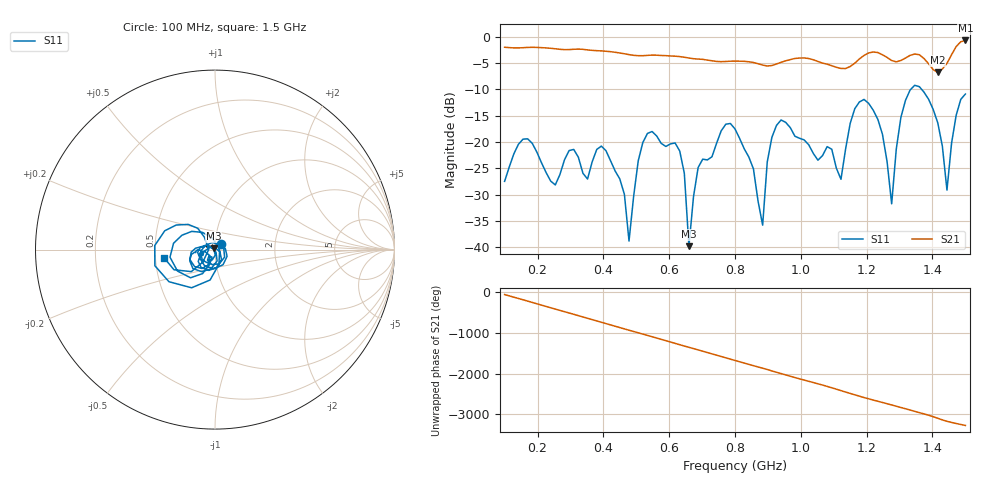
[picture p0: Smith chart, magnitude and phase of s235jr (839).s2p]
! NanoVNA-App
! Date: 2025-09-25 15:10:42
! Start: 100MHz Stop: 1,5GHz Points: 101
! S-Parameter data: F S11 S21 S12 S22
# Hz S RI R 50
!  Frequency  S11_Real  S11_Imag  S21_Real  S21_Imag  S12_Real  S12_Imag  S22_Real  S22_Imag
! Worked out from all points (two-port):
!   101 points, 100 MHz to 1.5 GHz, reference 50 ohm
!   highest |S21| = -0.67 dB at 1.5 GHz (marker M1); lowest = -6.8 dB at 1.416 GHz (marker M2)
!   |S21| within 3 dB of the highest: start of sweep to 620 MHz; 1.189 GHz to 1.256 GHz (66.99 MHz wide, 5.48 % of centre) (the widest 2 of 4)
!   lowest |S11| = -39.8 dB at 660 MHz (marker M3), VSWR 1.02, Z = 49.2 + j0.616 ohm
!   |S11| at or under -10 dB: start of sweep to 1.334 GHz; 1.367 GHz to end of sweep
!   S12 and S22 are empty: the file has one direction only
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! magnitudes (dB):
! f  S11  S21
! 100 MHz  -27.5  -2.0
! 156 MHz  -19.4  -2.1
! 338 MHz  -25.9  -2.4
! 408 MHz  -21.6  -2.7
! 478 MHz  -38.8  -3.4
! 520 MHz  -20.1  -3.6
! 576 MHz  -20.3  -3.5
! 632 MHz  -21.7  -3.7
! 660 MHz  -39.8  -4.0
! 688 MHz  -24.8  -4.2
! 800 MHz  -17.5  -4.6
! 884 MHz  -35.8  -5.4
! 926 MHz  -16.8  -5.1
! 1.038 GHz  -22.2  -4.3
! 1.122 GHz  -27.1  -6.0
! 1.192 GHz  -11.9  -3.5
! 1.248 GHz  -18.5  -3.4
! 1.276 GHz  -31.7  -4.5
! 1.332 GHz  -10.1  -3.5
! 1.416 GHz  -16.3  -6.8
! 1.444 GHz  -29.1  -5.0
! 1.5 GHz  -10.9  -0.7
